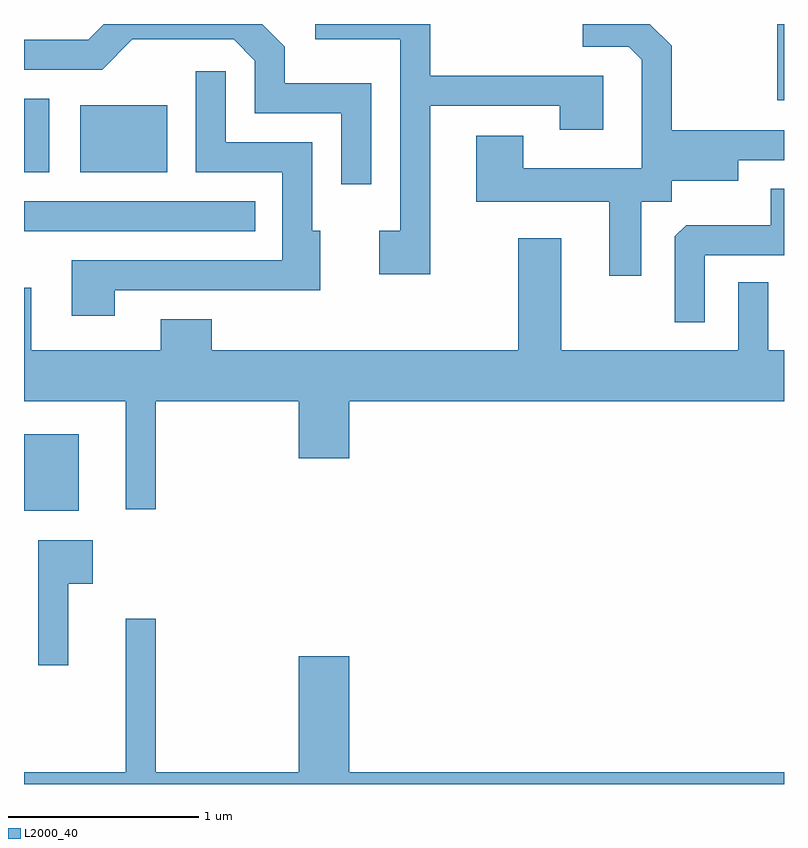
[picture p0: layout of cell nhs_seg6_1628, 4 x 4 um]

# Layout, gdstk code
import gdstk
lib = gdstk.Library(unit=1e-6, precision=1e-09)
def R(c, l, rs):  # rectangles x0, y0, x1, y1
    for r in rs: c.add(gdstk.rectangle(r[:2], r[2:], *l))
def P(c, l, *ps):  # polygons
    for p in ps: c.add(gdstk.Polygon(p, *l))
L2000_40 = (2000, 40)

nhs_seg6_1628 = lib.new_cell('nhs_seg6_1628')
R(nhs_seg6_1628, L2000_40, [(233.611,1631.601,233.899,1632.004), (233.611,1633.071,234.828,1633.229), (233.611,1633.381,233.744,1633.769), (233.906,1633.381,234.364,1633.734), (237.576,1633.761,237.611,1634.162)])
P(nhs_seg6_1628, L2000_40, [(235.749,1633.731),(236.431,1633.731),(236.431,1633.606),(236.659,1633.606),(236.659,1633.889),(235.749,1633.889),(235.749,1634.162),(235.143,1634.162),(235.143,1634.081),(235.591,1634.081),(235.591,1633.074),(235.481,1633.074),(235.481,1632.846),(235.749,1632.846)],
  [(235.439,1633.849),(234.984,1633.849),(234.984,1634.042),(234.864,1634.162),(234.032,1634.162),(233.949,1634.079),(233.611,1634.079),(233.611,1633.921),(234.022,1633.921),(234.182,1634.081),(234.714,1634.081),(234.826,1633.969),(234.826,1633.691),(235.281,1633.691),(235.281,1633.318),(235.439,1633.318)],
  [(236.859,1633.226),(237.019,1633.226),(237.019,1633.336),(237.369,1633.336),(237.369,1633.446),(237.611,1633.446),(237.611,1633.604),(237.019,1633.604),(237.019,1634.047),(236.904,1634.162),(236.553,1634.162),(236.553,1634.041),(236.794,1634.041),(236.861,1633.974),(236.861,1633.404),(236.239,1633.404),(236.239,1633.574),(235.991,1633.574),(235.991,1633.226),(236.691,1633.226),(236.691,1632.838),(236.859,1632.838)],
  [(234.089,1632.761),(235.169,1632.761),(235.169,1633.074),(235.129,1633.074),(235.129,1633.539),(234.674,1633.539),(234.674,1633.913),(234.516,1633.913),(234.516,1633.381),(234.971,1633.381),(234.971,1632.919),(233.861,1632.919),(233.861,1632.626),(234.089,1632.626)],
  [(237.194,1632.946),(237.611,1632.946),(237.611,1633.294),(237.541,1633.294),(237.541,1633.104),(237.097,1633.104),(237.036,1633.044),(237.036,1632.593),(237.194,1632.593)],
  [(234.304,1632.176),(235.056,1632.176),(235.056,1631.876),(235.324,1631.876),(235.324,1632.176),(237.611,1632.176),(237.611,1632.444),(237.529,1632.444),(237.529,1632.803),(237.371,1632.803),(237.371,1632.444),(236.439,1632.444),(236.439,1633.034),(236.211,1633.034),(236.211,1632.444),(234.599,1632.444),(234.599,1632.609),(234.331,1632.609),(234.331,1632.444),(233.649,1632.444),(233.649,1632.774),(233.611,1632.774),(233.611,1632.176),(234.146,1632.176),(234.146,1631.608),(234.304,1631.608)],
  [(233.844,1631.216),(233.974,1631.216),(233.974,1631.444),(233.686,1631.444),(233.686,1630.788),(233.844,1630.788)],
  [(237.611,1630.224),(235.324,1630.224),(235.324,1630.834),(235.056,1630.834),(235.056,1630.224),(234.304,1630.224),(234.304,1631.033),(234.146,1631.033),(234.146,1630.224),(233.611,1630.224),(233.611,1630.162),(237.611,1630.162)])

lib.write_gds('nhs_seg6_1628.gds')
